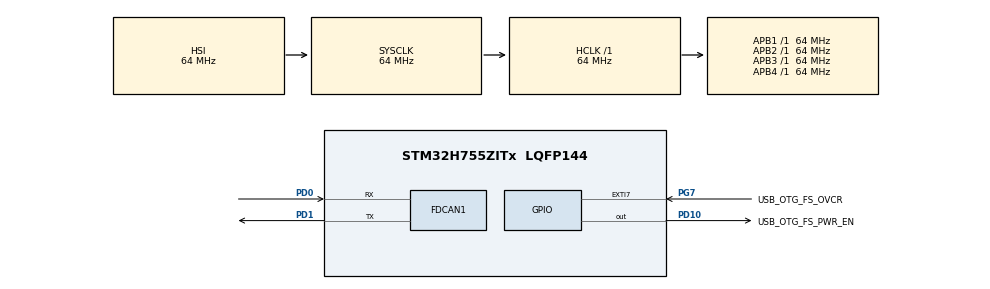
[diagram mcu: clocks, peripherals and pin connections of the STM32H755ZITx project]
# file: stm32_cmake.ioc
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CortexM4.IPs=FATFS_M4\:I,FREERTOS_M4\:I,IWDG2\:I,RCC,WWDG2\:I,DMA,BDMA,MDMA,NVIC2\:I,ETH,USART3,DEBUG,PDM2PCM_M4\:I,PWR,RESMGR_UTILITY,SYS_M4\:I,USB_DEVICE_M4\:I,USB_HOST_M4\:I,CORTEX_M4\:I,GPIO,OPENAMP_M4\:I,VREFBUF,NUCLEO-H755ZI-Q
CortexM7.IPs=FATFS_M7\:I,FREERTOS_M7\:I,IWDG1\:I,RCC\:I,WWDG1\:I,DMA\:I,BDMA\:I,MDMA\:I,NVIC1\:I,ETH\:I,USART3\:I,USB_OTG_FS\:I,USB_OTG_FS1\:I,SYS\:I,CORTEX_M7\:I,DEBUG\:I,PDM2PCM_M7\:I,PWR\:I,RESMGR_UTILITY\:I,USB_DEVICE_M7\:I,USB_HOST_M7\:I,GPIO\:I,OPENAMP_M7\:I,VREFBUF\:I,NUCLEO-H755ZI-Q\:I,FDCAN1\:I
FDCAN1.CalculateBaudRateNominal=10000
FDCAN1.CalculateTimeBitNominal=100000
FDCAN1.CalculateTimeQuantumNominal=5000.0
FDCAN1.NominalPrescaler=250
FDCAN1.NominalTimeSeg1=15
FDCAN1.NominalTimeSeg2=4
FDCAN1.RxFifo0ElmtsNbr=16
FDCAN1.TxFifoQueueElmtsNbr=16
FREERTOS_M7.Tasks01=BlinkTask,24,512,StartBlinkTask,Default,NULL,Dynamic,NULL,NULL
Mcu.Family=STM32H7
Mcu.Name=STM32H755ZITx
Mcu.Package=LQFP144
NUCLEO-H755ZI-Q.BUTTON=1
NUCLEO-H755ZI-Q.LD1=true
NUCLEO-H755ZI-Q.LD2=true
NUCLEO-H755ZI-Q.LD3=true
NUCLEO-H755ZI-Q.VCP=true
NVIC1.EXTI15_10_IRQn=true\:5\:0\:false\:false\:true\:true\:false\:true\:true
NVIC1.PriorityGroup=NVIC_PRIORITYGROUP_4
NVIC2.PriorityGroup=NVIC_PRIORITYGROUP_4
PA1.PinAttribute=CortexM7
PA1.Signal=ETH_REF_CLK
PA11.PinAttribute=CortexM7
PA11.Signal=USB_OTG_FS_DM
PA12.PinAttribute=CortexM7
PA12.Signal=USB_OTG_FS_DP
PA2.PinAttribute=CortexM7
PA2.Signal=ETH_MDIO
PA7.PinAttribute=CortexM7
PA7.Signal=ETH_CRS_DV
PA8.PinAttribute=CortexM7
PA8.Signal=USB_OTG_FS_SOF
PA9.PinAttribute=CortexM7
PA9.Signal=USB_OTG_FS_VBUS
PB13.PinAttribute=CortexM7
PB13.Signal=ETH_TXD1
PC1.PinAttribute=CortexM7
PC1.Signal=ETH_MDC
PC14-OSC32_IN\ (OSC32_IN).PinAttribute=Free
PC14-OSC32_IN\ (OSC32_IN).Signal=RCC_OSC32_IN
PC15-OSC32_OUT\ (OSC32_OUT).PinAttribute=Free
PC15-OSC32_OUT\ (OSC32_OUT).Signal=RCC_OSC32_OUT
PC4.PinAttribute=CortexM7
PC4.Signal=ETH_RXD0
PC5.PinAttribute=CortexM7
PC5.Signal=ETH_RXD1
PD0.Mode=FDCAN_Activate
PD0.PinAttribute=CortexM7
PD0.Signal=FDCAN1_RX
PD1.Mode=FDCAN_Activate
PD1.PinAttribute=CortexM7
PD1.Signal=FDCAN1_TX
PD10.GPIO_Label=USB_OTG_FS_PWR_EN
PD10.PinAttribute=Free
PD10.Signal=GPIO_Output
PD8.Signal=USART3_TX
PD9.Signal=USART3_RX
PG11.PinAttribute=CortexM7
PG11.Signal=ETH_TX_EN
PG13.PinAttribute=CortexM7
PG13.Signal=ETH_TXD0
PG7.GPIO_Label=USB_OTG_FS_OVCR
PG7.PinAttribute=Free
PG7.Signal=GPXTI7
PH0-OSC_IN\ (PH0).PinAttribute=Free
PH0-OSC_IN\ (PH0).Signal=RCC_OSC_IN
PH1-OSC_OUT\ (PH1).PinAttribute=Free
PH1-OSC_OUT\ (PH1).Signal=RCC_OSC_OUT
ProjectManager.HeapSize=M4-0x200,M7-0x200
ProjectManager.StackSize=M4-0x400,M7-0x400
ProjectManager.TargetToolchain=CMake
RCC.ADCFreq_Value=129000000
RCC.APB1Freq_Value=64000000
RCC.APB2Freq_Value=64000000
RCC.APB3Freq_Value=64000000
RCC.APB4Freq_Value=64000000
RCC.CortexFreq_Value=64000000
RCC.DIVM1=4
RCC.DIVN1=9
RCC.DIVQ1=3
RCC.HCLKFreq_Value=64000000
RCC.PLL2FRACN=0
RCC.PLL3FRACN=0
RCC.PLLFRACN=3072
RCC.SYSCLKFreq_VALUE=64000000
RCC.SupplySource=PWR_DIRECT_SMPS_SUPPLY
RCC.USBFreq_Value=50000000
VP_FREERTOS_M7_VS_CMSIS_V2.Mode=CMSIS_V2
VP_NUCLEO-H755ZI-Q_VS_BSP_COMMON.Mode=COMMON
VP_SYS_M4_VS_Systick.Mode=SysTick
board=NUCLEO-H755ZI-Q

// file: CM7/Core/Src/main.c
/* USER CODE BEGIN Header */
/**
  ******************************************************************************
  * @file           : main.c
  * @brief          : CSP Client (Sender only)
  ******************************************************************************
  */
/* USER CODE END Header */
#include "main.h"
#include "FreeRTOS.h"
#include "cmsis_os2.h"

/* USER CODE BEGIN Includes */
#include "csp/csp.h"
#include "csp/drivers/can_stm32.h"
#include <stdio.h>
#include <string.h>
#include <stdbool.h>
/* USER CODE END Includes */

/* USER CODE BEGIN PD */
#undef DUAL_CORE_BOOT_SYNC_SEQUENCE

#if defined(DUAL_CORE_BOOT_SYNC_SEQUENCE)
#ifndef HSEM_ID_0
#define HSEM_ID_0 (0U)
#endif
#endif
/* USER CODE END PD */

COM_InitTypeDef BspCOMInit;
__IO uint32_t BspButtonState = BUTTON_RELEASED;

FDCAN_HandleTypeDef hfdcan1;

/* CubeMX-generated task handles (keep names if CubeMX recreates them) */
osThreadId_t senderTaskHandle;
const osThreadAttr_t senderTask_attributes = {
  .name = "CSP_Sender",
  .stack_size = 512 * 4,
  .priority = (osPriority_t) osPriorityNormal,
};

osThreadId_t routerTaskHandle;
const osThreadAttr_t routerTask_attributes = {
  .name = "CSP_Router",
  .stack_size = 1024 * 4,
  .priority = (osPriority_t) osPriorityHigh,
};

/* USER CODE BEGIN PV */
csp_iface_t * can_iface = NULL;
/* USER CODE END PV */

void SystemClock_Config(void);
static void MX_GPIO_Init(void);
static void MX_FDCAN1_Init(void);
void StartSenderTask(void *argument);   /* used as Sender */
void StartRouterTask(void *argument);        /* used as Router */

int main(void)
{

/* USER CODE BEGIN Boot_Mode_Sequence_0 */
#if defined(DUAL_CORE_BOOT_SYNC_SEQUENCE)
  int32_t timeout;
#endif
/* USER CODE END Boot_Mode_Sequence_0 */

/* USER CODE BEGIN Boot_Mode_Sequence_1 */
#if defined(DUAL_CORE_BOOT_SYNC_SEQUENCE)
  timeout = 0xFFFF;
  while((__HAL_RCC_GET_FLAG(RCC_FLAG_D2CKRDY) != RESET) && (timeout-- > 0));
  if (timeout < 0) {
    Error_Handler();
  }
#endif
/* USER CODE END Boot_Mode_Sequence_1 */

  HAL_Init();

  /* USER CODE BEGIN Init */
  csp_init();
  /* USER CODE END Init */

  SystemClock_Config();

/* USER CODE BEGIN Boot_Mode_Sequence_2 */
#if defined(DUAL_CORE_BOOT_SYNC_SEQUENCE)
  __HAL_RCC_HSEM_CLK_ENABLE();
  HAL_HSEM_FastTake(HSEM_ID_0);
  HAL_HSEM_Release(HSEM_ID_0, 0);
  timeout = 0xFFFF;
  while((__HAL_RCC_GET_FLAG(RCC_FLAG_D2CKRDY) == RESET) && (timeout-- > 0));
  if (timeout < 0) {
    Error_Handler();
  }
#endif
/* USER CODE END Boot_Mode_Sequence_2 */

  MX_GPIO_Init();
  MX_FDCAN1_Init();

  /* USER CODE BEGIN 2 */
  // Client address = 1
  int res = csp_can_stm32_open_and_add_interface(
                1,          /* CSP address */
                10000,     /* bitrate (driver may override timing) */
                true,       /* promiscuous */
                &can_iface);

  if (res != CSP_ERR_NONE) {
    printf("Failed to open CSP CAN: %d\r\n", res);
    Error_Handler();
  }

  can_iface->is_default = 1;
  /* USER CODE END 2 */

  osKernelInitialize();

  /* USER CODE BEGIN RTOS_THREADS */
  routerTaskHandle = osThreadNew(StartRouterTask, NULL, &routerTask_attributes);
  senderTaskHandle = osThreadNew(StartSenderTask, NULL, &senderTask_attributes);
  /* USER CODE END RTOS_THREADS */

  BSP_LED_Init(LED_GREEN);
  BSP_LED_Init(LED_YELLOW);
  BSP_LED_Init(LED_RED);
  BSP_PB_Init(BUTTON_USER, BUTTON_MODE_EXTI);

  BspCOMInit.BaudRate   = 115200;
  BspCOMInit.WordLength = COM_WORDLENGTH_8B;
  BspCOMInit.StopBits   = COM_STOPBITS_1;
  BspCOMInit.Parity     = COM_PARITY_NONE;
  BspCOMInit.HwFlowCtl  = COM_HWCONTROL_NONE;
  if (BSP_COM_Init(COM1, &BspCOMInit) != BSP_ERROR_NONE) {
    Error_Handler();
  }

  /* USER CODE BEGIN BSP */
  printf("=== CSP Client addr=1 ===\r\n");
  BSP_LED_On(LED_GREEN);
  /* USER CODE END BSP */

  osKernelStart();

  while (1) {
  }
}

void SystemClock_Config(void)
{
  RCC_OscInitTypeDef RCC_OscInitStruct = {0};
  RCC_ClkInitTypeDef RCC_ClkInitStruct = {0};

  HAL_PWREx_ConfigSupply(PWR_DIRECT_SMPS_SUPPLY);
  __HAL_PWR_VOLTAGESCALING_CONFIG(PWR_REGULATOR_VOLTAGE_SCALE3);
  while (!__HAL_PWR_GET_FLAG(PWR_FLAG_VOSRDY)) {}

  RCC_OscInitStruct.OscillatorType = RCC_OSCILLATORTYPE_HSI;
  RCC_OscInitStruct.HSIState = RCC_HSI_DIV1;
  RCC_OscInitStruct.HSICalibrationValue = RCC_HSICALIBRATION_DEFAULT;
  RCC_OscInitStruct.PLL.PLLState = RCC_PLL_ON;
  RCC_OscInitStruct.PLL.PLLSource = RCC_PLLSOURCE_HSI;
  RCC_OscInitStruct.PLL.PLLM = 4;
  RCC_OscInitStruct.PLL.PLLN = 9;
  RCC_OscInitStruct.PLL.PLLP = 2;
  RCC_OscInitStruct.PLL.PLLQ = 3;
  RCC_OscInitStruct.PLL.PLLR = 2;
  RCC_OscInitStruct.PLL.PLLRGE = RCC_PLL1VCIRANGE_3;
  RCC_OscInitStruct.PLL.PLLVCOSEL = RCC_PLL1VCOMEDIUM;
  RCC_OscInitStruct.PLL.PLLFRACN = 3072;
  if (HAL_RCC_OscConfig(&RCC_OscInitStruct) != HAL_OK) {
    Error_Handler();
  }

  RCC_ClkInitStruct.ClockType = RCC_CLOCKTYPE_HCLK|RCC_CLOCKTYPE_SYSCLK
                              |RCC_CLOCKTYPE_PCLK1|RCC_CLOCKTYPE_PCLK2
                              |RCC_CLOCKTYPE_D3PCLK1|RCC_CLOCKTYPE_D1PCLK1;
  RCC_ClkInitStruct.SYSCLKSource = RCC_SYSCLKSOURCE_HSI;
  RCC_ClkInitStruct.SYSCLKDivider = RCC_SYSCLK_DIV1;
  RCC_ClkInitStruct.AHBCLKDivider = RCC_HCLK_DIV1;
  RCC_ClkInitStruct.APB3CLKDivider = RCC_APB3_DIV1;
  RCC_ClkInitStruct.APB1CLKDivider = RCC_APB1_DIV1;
  RCC_ClkInitStruct.APB2CLKDivider = RCC_APB2_DIV1;
  RCC_ClkInitStruct.APB4CLKDivider = RCC_APB4_DIV1;

  if (HAL_RCC_ClockConfig(&RCC_ClkInitStruct, FLASH_LATENCY_1) != HAL_OK) {
    Error_Handler();
  }
}

static void MX_FDCAN1_Init(void)
{
  hfdcan1.Instance = FDCAN1;
  hfdcan1.Init.FrameFormat = FDCAN_FRAME_CLASSIC;
  hfdcan1.Init.Mode = FDCAN_MODE_EXTERNAL_LOOPBACK;
  hfdcan1.Init.AutoRetransmission = DISABLE;
  hfdcan1.Init.TransmitPause = DISABLE;
  hfdcan1.Init.ProtocolException = DISABLE;
  hfdcan1.Init.NominalPrescaler = 250;
  hfdcan1.Init.NominalSyncJumpWidth = 1;
  hfdcan1.Init.NominalTimeSeg1 = 15;
  hfdcan1.Init.NominalTimeSeg2 = 4;
  hfdcan1.Init.DataPrescaler = 1;
  hfdcan1.Init.DataSyncJumpWidth = 1;
  hfdcan1.Init.DataTimeSeg1 = 1;
  hfdcan1.Init.DataTimeSeg2 = 1;
  hfdcan1.Init.MessageRAMOffset = 0;
  hfdcan1.Init.StdFiltersNbr = 0;
  hfdcan1.Init.ExtFiltersNbr = 0;
  hfdcan1.Init.RxFifo0ElmtsNbr = 3;
  hfdcan1.Init.RxFifo0ElmtSize = FDCAN_DATA_BYTES_8;
  hfdcan1.Init.RxFifo1ElmtsNbr = 0;
  hfdcan1.Init.RxFifo1ElmtSize = FDCAN_DATA_BYTES_8;
  hfdcan1.Init.RxBuffersNbr = 0;
  hfdcan1.Init.RxBufferSize = FDCAN_DATA_BYTES_8;
  hfdcan1.Init.TxEventsNbr = 0;
  hfdcan1.Init.TxBuffersNbr = 3;
  hfdcan1.Init.TxFifoQueueElmtsNbr = 0;
  hfdcan1.Init.TxFifoQueueMode = FDCAN_TX_FIFO_OPERATION;
  hfdcan1.Init.TxElmtSize = FDCAN_DATA_BYTES_8;
  if (HAL_FDCAN_Init(&hfdcan1) != HAL_OK) {
    Error_Handler();
  }
}

static void MX_GPIO_Init(void)
{
  GPIO_InitTypeDef GPIO_InitStruct = {0};

  __HAL_RCC_GPIOC_CLK_ENABLE();
  __HAL_RCC_GPIOA_CLK_ENABLE();
  __HAL_RCC_GPIOB_CLK_ENABLE();
  __HAL_RCC_GPIOD_CLK_ENABLE();
  __HAL_RCC_GPIOG_CLK_ENABLE();

  GPIO_InitStruct.Pin = GPIO_PIN_1|GPIO_PIN_4|GPIO_PIN_5;
  GPIO_InitStruct.Mode = GPIO_MODE_AF_PP;
  GPIO_InitStruct.Pull = GPIO_NOPULL;
  GPIO_InitStruct.Speed = GPIO_SPEED_FREQ_HIGH;
  GPIO_InitStruct.Alternate = GPIO_AF11_ETH;
  HAL_GPIO_Init(GPIOC, &GPIO_InitStruct);

  GPIO_InitStruct.Pin = GPIO_PIN_1|GPIO_PIN_2|GPIO_PIN_7;
  GPIO_InitStruct.Mode = GPIO_MODE_AF_PP;
  GPIO_InitStruct.Pull = GPIO_NOPULL;
  GPIO_InitStruct.Speed = GPIO_SPEED_FREQ_HIGH;
  GPIO_InitStruct.Alternate = GPIO_AF11_ETH;
  HAL_GPIO_Init(GPIOA, &GPIO_InitStruct);

  GPIO_InitStruct.Pin = GPIO_PIN_13;
  GPIO_InitStruct.Mode = GPIO_MODE_AF_PP;
  GPIO_InitStruct.Pull = GPIO_NOPULL;
  GPIO_InitStruct.Speed = GPIO_SPEED_FREQ_HIGH;
  GPIO_InitStruct.Alternate = GPIO_AF11_ETH;
  HAL_GPIO_Init(GPIOB, &GPIO_InitStruct);

  GPIO_InitStruct.Pin = GPIO_PIN_8|GPIO_PIN_11|GPIO_PIN_12;
  GPIO_InitStruct.Mode = GPIO_MODE_AF_PP;
  GPIO_InitStruct.Pull = GPIO_NOPULL;
  GPIO_InitStruct.Speed = GPIO_SPEED_FREQ_LOW;
  GPIO_InitStruct.Alternate = GPIO_AF10_OTG1_FS;
  HAL_GPIO_Init(GPIOA, &GPIO_InitStruct);

  GPIO_InitStruct.Pin = GPIO_PIN_11|GPIO_PIN_13;
  GPIO_InitStruct.Mode = GPIO_MODE_AF_PP;
  GPIO_InitStruct.Pull = GPIO_NOPULL;
  GPIO_InitStruct.Speed = GPIO_SPEED_FREQ_HIGH;
  GPIO_InitStruct.Alternate = GPIO_AF11_ETH;
  HAL_GPIO_Init(GPIOG, &GPIO_InitStruct);
}

/* USER CODE BEGIN 4 */

int _write(int file, char *ptr, int len)
{
  (void)file;
  for (int i = 0; i < len; i++) {
    ITM_SendChar(*ptr++);
  }
  return len;
}

/* USER CODE END 4 */

/**
  * @brief Sender task: send 1000-byte CSP packet when USER button is pressed
  */
void StartSenderTask(void *argument)
{
  (void)argument;
  osDelay(1000);   /* wait for CSP/CAN to be ready */

  for (;;)
  {
    /* Wait until button is pressed */
    if (BspButtonState == BUTTON_PRESSED)
    {
      BspButtonState = BUTTON_RELEASED;   /* clear flag (one shot) */

      csp_packet_t *packet = csp_buffer_get(0);
      if (packet == NULL)
      {
        printf("Client: no CSP buffer\r\n");
        continue;
      }

      for (int i = 0; i < 500; i++)
      {
        packet->data[i] = (uint8_t)i;
      }
      packet->length = 500;

      /* Send to server address 2, port 10 */
      csp_sendto(CSP_PRIO_NORM, 2, 10, 10, CSP_O_NONE, packet);

      printf("Client TX: 500 bytes -> addr 2 / port 10\r\n");
      BSP_LED_Toggle(LED_YELLOW);
    }

    osDelay(20);   /* small delay: poll flag, reduce CPU load */
  }
}

/**
  * @brief Router task: process RX queue + CSP routing
  */
void StartRouterTask(void *argument)
{
  (void)argument;
  for (;;) {
    csp_can_stm32_process_rx();
    csp_route_work();
    osDelay(1);
  }
}

void BSP_PB_Callback(Button_TypeDef Button)
{
  if (Button == BUTTON_USER) {
    BspButtonState = BUTTON_PRESSED;
  }
}

void Error_Handler(void)
{
  __disable_irq();
  while (1) {
  }
}
